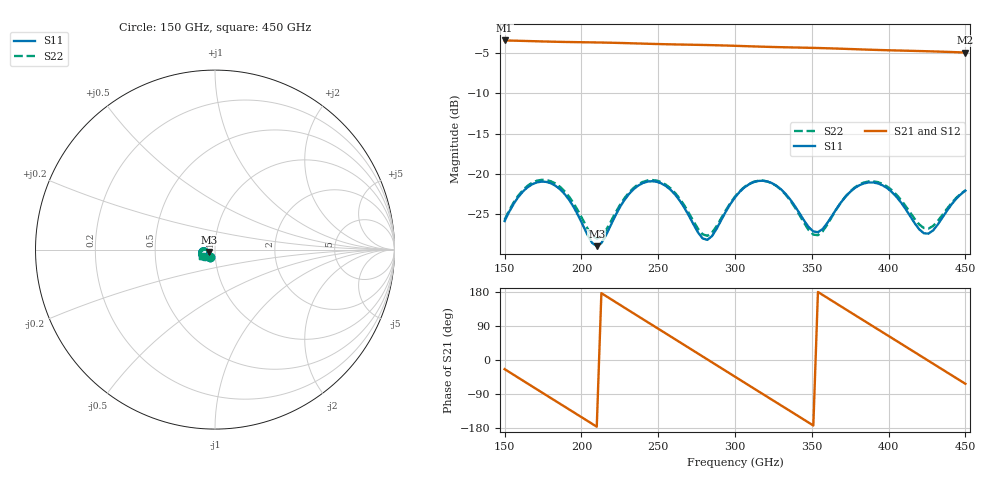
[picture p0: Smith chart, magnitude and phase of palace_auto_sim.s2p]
#  GHZ S DB R 50
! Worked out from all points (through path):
!   101 points, 150 GHz to 450 GHz, reference 50 ohm
!   highest |S21| = -3.47 dB at 150 GHz (marker M1); lowest = -5.0 dB at 450 GHz (marker M2)
!   group delay of S21, straight-line fit = 7.03 ps
!   lowest |S11| = -28.9 dB at 210 GHz (marker M3), VSWR 1.07, Z = 46.8 - j1.3 ohm
!   |S11| at or under -10 dB: start of sweep to end of sweep
!   |S22| runs from -28.0 to -20.7 dB; largest |S21 - S12| = 7.5e-14
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150  -25.83 -126.4  -3.47 -24.1  -3.47 -24.1  -25.65 -124.9
162  -22.15 -134.3  -3.53 -54.6  -3.53 -54.6  -21.97 -132.5
174  -20.94 -152.8  -3.59 -85.0  -3.59 -85.0  -20.72 -150.5
186  -21.88 -171.5  -3.65 -115.3  -3.65 -115.3  -21.57 -168.6
201  -26.34 179.9  -3.70 -153.2  -3.70 -153.2  -25.68 -176.9
210  -28.93 -157.1  -3.72 -176.0  -3.72 -176.0  -27.99 -157.1
222  -25.19 -132.1  -3.77 153.5  -3.77 153.5  -24.85 -133.9
234  -21.88 -141.5  -3.83 123.0  -3.83 123.0  -21.72 -141.9
252  -21.16 -168.1  -3.93 77.5  -3.93 77.5  -21.01 -167.3
276  -27.26 -176.2  -4.02 16.8  -4.02 16.8  -26.80 -175.1
285  -27.69 -149.6  -4.06 -6.0  -4.06 -6.0  -27.26 -150.6
300  -22.90 -140.7  -4.14 -44.1  -4.14 -44.1  -22.79 -141.5
312  -21.01 -154.9  -4.21 -74.4  -4.21 -74.4  -20.98 -155.2
324  -21.13 -171.6  -4.28 -104.7  -4.28 -104.7  -21.14 -171.8
339  -23.97 175.3  -4.34 -142.5  -4.34 -142.5  -24.14 175.3
351  -27.11 -170.3  -4.40 -172.9  -4.40 -172.9  -27.51 -168.6
363  -25.22 -146.6  -4.46 156.7  -4.46 156.7  -25.33 -142.9
378  -21.74 -153.1  -4.56 118.8  -4.56 118.8  -21.66 -149.8
390  -21.05 -168.2  -4.63 88.5  -4.63 88.5  -20.91 -165.0
402  -22.21 177.7  -4.70 58.3  -4.70 58.3  -21.98 -179.1
426  -27.38 -163.5  -4.81 -2.2  -4.81 -2.2  -26.75 -163.3
450  -22.06 -153.3  -4.97 -62.8  -4.97 -62.8  -22.03 -154.5
